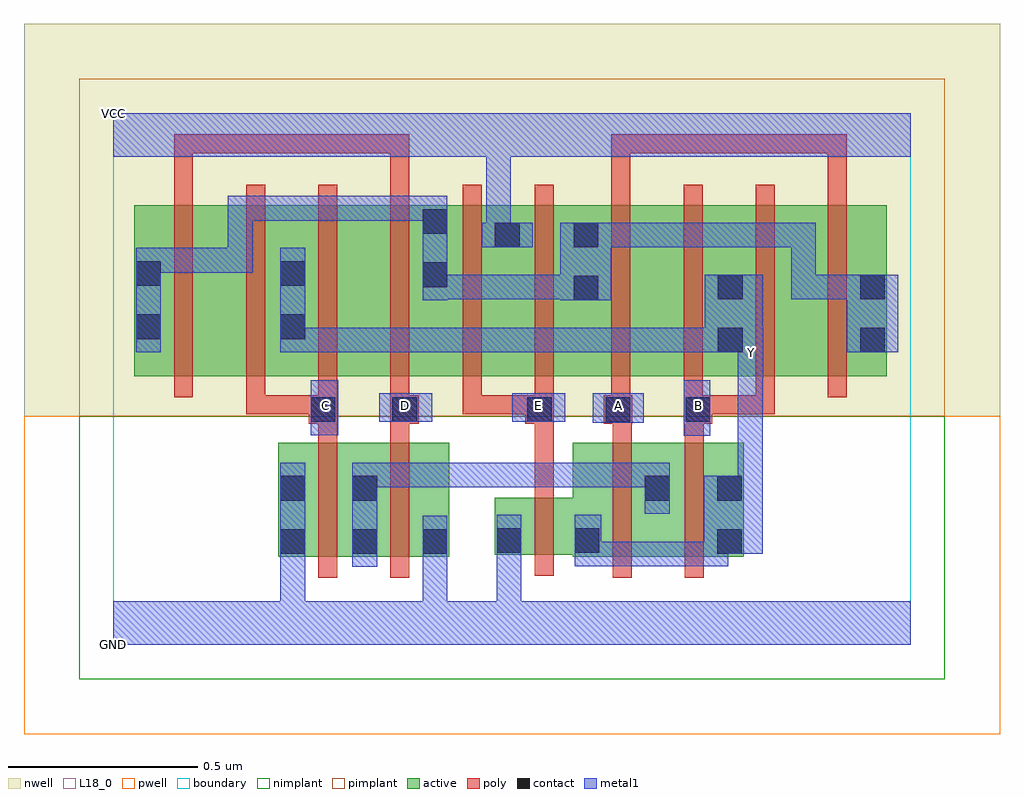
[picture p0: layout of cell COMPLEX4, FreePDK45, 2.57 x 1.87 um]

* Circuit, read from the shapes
.subckt COMPLEX4 A B C D E GND VCC Y
M1 n1 C GND VSUBS nfet w=0.3u l=0.05u
M2 GND D n1 VSUBS nfet w=0.3u l=0.05u
M3 Y E GND VSUBS nfet w=0.15u l=0.05u
M4 n1 A Y VSUBS nfet w=0.3u l=0.05u
M5 Y B n1 VSUBS nfet w=0.3u l=0.05u
M6 n2 D n3 n4 pfet w=0.45u l=0.05u
M7 Y C n2 n4 pfet w=0.45u l=0.05u
M8 n5 C Y n4 pfet w=0.45u l=0.05u
M9 n3 D n5 n4 pfet w=0.45u l=0.05u
M10 VCC E n3 n4 pfet w=0.45u l=0.05u m=2
M11 n6 A n3 n4 pfet w=0.45u l=0.05u
M12 Y B n6 n4 pfet w=0.45u l=0.05u
M13 n7 B Y n4 pfet w=0.45u l=0.05u
M14 n3 A n7 n4 pfet w=0.45u l=0.05u
.ends

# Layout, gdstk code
import gdstk
lib = gdstk.Library(unit=1e-6, precision=1e-09)
def R(c, l, rs):  # rectangles x0, y0, x1, y1
    for r in rs: c.add(gdstk.rectangle(r[:2], r[2:], *l))
def A(c, l, x, y, w, h, nx, ny, dx, dy):  # array of equal rectangles
    R(c, l, [(x+i*dx, y+j*dy, x+i*dx+w, y+j*dy+h) for i in range(nx) for j in range(ny)])
active = (1, 0)
pwell = (2, 0)
nwell = (3, 0)
nimplant = (4, 0)
pimplant = (5, 0)
poly = (9, 0)
contact = (10, 0)
metal1 = (11, 0)
L18_0 = (18, 0)
boundary = (235, 0)

complex4 = lib.new_cell('COMPLEX4')
R(complex4, active, [(0.435,0.232,0.51,0.532), (0.435,0.232,0.7,0.532), (0.625,0.232,0.885,0.532), (0.625,0.232,0.7,0.475), (0.81,0.232,0.885,0.532), (1.21,0.232,1.47,0.532), (1.21,0.232,1.285,0.342), (1.395,0.232,1.66,0.532), (1.585,0.232,1.66,0.532), (1.005,0.237,1.285,0.387), (1.005,0.237,1.08,0.387), (1.395,0.247,1.47,0.45), (0.055,0.707,0.13,1.107), (0.055,0.707,0.28,1.157), (0.28,0.707,0.51,1.157), (0.435,0.707,0.66,1.157), (0.66,0.707,0.885,1.157), (0.81,0.707,1.075,1.157), (1,0.707,1.282,1.157), (1.207,0.707,1.432,1.157), (1.432,0.707,1.662,1.157), (1.587,0.707,1.812,1.157), (1.812,0.707,2.037,1.157), (1.962,0.707,2.037,1.107), (0.435,0.717,0.51,1.07), (0.81,0.717,0.885,1.157), (1.587,0.717,1.662,1.07), (1.207,0.782,1.282,1.12), (1,0.857,1.075,1.12)])
R(complex4, pwell, [(-0.235,-0.235,2.335,0.602)])
R(complex4, nwell, [(-0.235,0.602,2.335,1.635)])
R(complex4, nimplant, [(-0.09,-0.09,2.19,0.602)])
R(complex4, pimplant, [(-0.09,0.602,2.19,1.49)])
A(complex4, poly, 0.35, 0.607, 0.05, 0.095, 5, 1, 0.19, 0)
A(complex4, poly, 1.312, 0.607, 0.05, 0.095, 3, 1, 0.19, 0)
A(complex4, poly, 0.16, 0.652, 0.05, 0.56, 6, 1, 0.19, 0)
A(complex4, poly, 1.312, 0.652, 0.05, 0.56, 4, 1, 0.19, 0)
R(complex4, poly, [(0.54,0.177,0.59,0.587), (0.73,0.177,0.78,0.587), (1.315,0.177,1.365,0.587), (1.505,0.177,1.555,0.587), (1.11,0.182,1.16,0.442), (1.11,0.392,1.16,0.632), (0.54,0.537,0.59,0.632), (0.73,0.537,0.78,0.632), (1.315,0.537,1.365,0.632), (1.505,0.537,1.555,0.632), (0.515,0.582,0.59,0.657), (0.73,0.582,0.805,0.657), (1.085,0.582,1.16,0.657), (1.292,0.582,1.367,0.657), (1.502,0.582,1.577,0.657), (0.35,0.607,0.4,0.657), (0.35,0.607,0.565,0.657), (0.515,0.607,0.565,0.657), (0.515,0.607,0.565,0.657), (0.92,0.607,0.97,0.657), (0.92,0.607,0.97,0.657), (0.92,0.607,0.97,0.657), (0.92,0.607,1.135,0.657), (1.527,0.607,1.742,0.657), (1.692,0.607,1.742,0.657), (1.692,0.607,1.742,0.657), (1.692,0.607,1.742,0.657), (0.16,1.162,0.21,1.345), (0.73,1.162,0.78,1.345), (1.312,1.162,1.362,1.345), (1.882,1.162,1.932,1.345), (0.16,1.295,0.21,1.345), (0.16,1.295,0.21,1.345), (0.16,1.295,0.21,1.345), (0.16,1.295,0.345,1.345), (0.295,1.295,0.345,1.345), (0.295,1.295,0.535,1.345), (0.485,1.295,0.535,1.345), (0.485,1.295,0.535,1.345), (0.485,1.295,0.535,1.345), (0.485,1.295,0.78,1.345), (0.73,1.295,0.78,1.345), (0.73,1.295,0.78,1.345), (0.73,1.295,0.78,1.345), (1.312,1.295,1.362,1.345), (1.312,1.295,1.362,1.345), (1.312,1.295,1.362,1.345), (1.312,1.295,1.61,1.345), (1.56,1.295,1.61,1.345), (1.56,1.295,1.61,1.345), (1.56,1.295,1.61,1.345), (1.56,1.295,1.742,1.345), (1.692,1.295,1.742,1.345), (1.692,1.295,1.932,1.345), (1.882,1.295,1.932,1.345), (1.882,1.295,1.932,1.345), (1.882,1.295,1.932,1.345)])
R(complex4, contact, [(0.44,0.24,0.505,0.305), (0.63,0.24,0.695,0.305), (0.815,0.24,0.88,0.305), (1.59,0.24,1.655,0.305), (1.01,0.242,1.075,0.307), (1.215,0.242,1.28,0.307), (0.44,0.38,0.505,0.445), (0.63,0.38,0.695,0.445), (1.4,0.38,1.465,0.445), (1.59,0.38,1.655,0.445), (0.52,0.587,0.585,0.652), (0.735,0.587,0.8,0.652), (1.09,0.587,1.155,0.652), (1.297,0.587,1.362,0.652), (1.507,0.587,1.572,0.652), (1.592,0.77,1.657,0.835), (1.967,0.77,2.032,0.835), (0.06,0.805,0.125,0.87), (0.44,0.805,0.505,0.87), (1.212,0.907,1.277,0.972), (1.592,0.91,1.657,0.975), (1.967,0.91,2.032,0.975), (0.815,0.942,0.88,1.007), (0.06,0.945,0.125,1.01), (0.44,0.945,0.505,1.01), (1.005,1.047,1.07,1.112), (1.212,1.047,1.277,1.112), (0.815,1.082,0.88,1.147)])
R(complex4, metal1, [(0,0,2.1,0.115), (0.44,0.05,0.505,0.115), (0.44,0.05,0.505,0.115), (0.44,0.05,0.505,0.27), (0.815,0.05,0.88,0.115), (0.815,0.05,0.88,0.115), (0.815,0.05,0.88,0.27), (1.01,0.05,1.075,0.272), (0.44,0.205,0.505,0.48), (0.63,0.205,0.695,0.48), (0.815,0.205,0.88,0.34), (1.01,0.207,1.075,0.272), (1.01,0.207,1.075,0.272), (1.01,0.207,1.075,0.272), (1.01,0.207,1.075,0.272), (1.01,0.207,1.075,0.342), (1.215,0.207,1.285,0.342), (1.22,0.207,1.285,0.272), (1.22,0.207,1.285,0.272), (1.22,0.207,1.45,0.272), (1.385,0.207,1.45,0.272), (1.385,0.207,1.62,0.272), (1.555,0.207,1.62,0.272), (1.555,0.207,1.62,0.272), (1.555,0.207,1.62,0.272), (1.555,0.207,1.62,0.305), (1.555,0.24,1.71,0.445), (1.4,0.345,1.465,0.48), (1.645,0.38,1.71,0.767), (0.63,0.415,0.695,0.48), (0.63,0.415,0.695,0.48), (0.63,0.415,0.857,0.48), (0.792,0.415,0.857,0.48), (0.792,0.415,0.857,0.48), (0.792,0.415,0.857,0.48), (0.792,0.415,1.02,0.48), (0.955,0.415,1.02,0.48), (0.955,0.415,1.02,0.48), (0.955,0.415,1.02,0.48), (0.955,0.415,1.222,0.48), (1.157,0.415,1.222,0.48), (1.157,0.415,1.222,0.48), (1.157,0.415,1.222,0.48), (1.157,0.415,1.465,0.48), (1.502,0.55,1.572,0.697), (0.52,0.552,0.592,0.697), (1.262,0.585,1.397,0.662), (0.7,0.587,0.84,0.662), (1.05,0.587,1.19,0.662), (1.645,0.702,1.712,0.837), (0.06,0.77,0.125,1.045), (0.44,0.77,0.505,0.835), (0.44,0.77,0.505,0.835), (0.44,0.77,0.505,1.045), (0.44,0.77,0.695,0.835), (0.63,0.77,0.695,0.835), (0.63,0.77,0.695,0.835), (0.63,0.77,0.695,0.835), (0.63,0.77,0.832,0.835), (0.767,0.77,0.832,0.835), (0.767,0.77,0.832,0.835), (0.767,0.77,0.832,0.835), (0.767,0.77,1.025,0.835), (0.96,0.77,1.025,0.835), (0.96,0.77,1.025,0.835), (0.96,0.77,1.025,0.835), (0.96,0.77,1.24,0.835), (1.175,0.77,1.24,0.835), (1.175,0.77,1.24,0.835), (1.175,0.77,1.24,0.835), (1.175,0.77,1.482,0.835), (1.417,0.77,1.482,0.835), (1.417,0.77,1.482,0.835), (1.417,0.77,1.482,0.835), (1.417,0.77,1.622,0.835), (1.557,0.77,1.71,0.975), (1.645,0.77,1.71,0.835), (1.932,0.77,2.067,0.975), (0.815,0.907,0.88,1.182), (1.177,0.907,1.312,1.112), (0.815,0.91,0.88,0.975), (0.815,0.91,0.88,0.975), (0.815,0.91,1.02,0.975), (0.955,0.91,1.02,0.975), (0.955,0.91,1.02,0.975), (0.955,0.91,1.02,0.975), (0.955,0.91,1.242,0.975), (1.785,0.91,1.85,0.975), (1.785,0.91,1.997,0.975), (1.785,0.91,1.85,1.112), (1.932,0.91,1.997,0.975), (1.932,0.91,1.997,0.975), (0.06,0.98,0.125,1.045), (0.06,0.98,0.125,1.045), (0.06,0.98,0.367,1.045), (0.302,0.98,0.367,1.045), (0.302,0.98,0.367,1.182), (0.97,1.047,1.105,1.112), (0.982,1.047,1.047,1.112), (0.982,1.047,1.047,1.112), (0.982,1.047,1.047,1.35), (1.247,1.047,1.312,1.112), (1.247,1.047,1.312,1.112), (1.247,1.047,1.482,1.112), (1.417,1.047,1.482,1.112), (1.417,1.047,1.625,1.112), (1.56,1.047,1.625,1.112), (1.56,1.047,1.625,1.112), (1.56,1.047,1.625,1.112), (1.56,1.047,1.85,1.112), (1.785,1.047,1.85,1.112), (1.785,1.047,1.85,1.112), (1.785,1.047,1.85,1.112), (0.302,1.117,0.367,1.182), (0.302,1.117,0.367,1.182), (0.302,1.117,0.367,1.182), (0.302,1.117,0.505,1.182), (0.44,1.117,0.505,1.182), (0.44,1.117,0.505,1.182), (0.44,1.117,0.505,1.182), (0.44,1.117,0.695,1.182), (0.63,1.117,0.695,1.182), (0.63,1.117,0.695,1.182), (0.63,1.117,0.695,1.182), (0.63,1.117,0.88,1.182), (0,1.285,2.1,1.4)])
A(complex4, L18_0, 1.087, 0.597, 0.065, 0.065, 3, 1, 0.21, 0)
R(complex4, L18_0, [(0,0,2.1,0.115), (0.44,0.05,0.505,0.115), (0.44,0.05,0.505,0.115), (0.44,0.05,0.505,0.27), (0.815,0.05,0.88,0.115), (0.815,0.05,0.88,0.115), (0.815,0.05,0.88,0.27), (1.01,0.05,1.075,0.272), (0.44,0.205,0.505,0.48), (0.815,0.205,0.88,0.34), (1.01,0.207,1.075,0.272), (1.01,0.207,1.075,0.272), (1.01,0.207,1.075,0.272), (1.01,0.207,1.075,0.272), (1.01,0.207,1.075,0.342), (1.215,0.207,1.285,0.342), (1.22,0.207,1.285,0.272), (1.22,0.207,1.285,0.272), (1.22,0.207,1.45,0.272), (1.385,0.207,1.45,0.272), (1.385,0.207,1.62,0.272), (1.555,0.207,1.62,0.272), (1.555,0.207,1.62,0.272), (1.555,0.207,1.62,0.272), (1.555,0.207,1.62,0.305), (1.555,0.24,1.71,0.445), (1.645,0.38,1.71,0.767), (1.502,0.55,1.572,0.697), (0.52,0.552,0.592,0.697), (1.262,0.585,1.397,0.662), (0.7,0.587,0.84,0.662), (1.05,0.587,1.19,0.662), (0.527,0.597,0.592,0.662), (0.737,0.597,0.802,0.662), (1.645,0.702,1.712,0.837), (1.647,0.737,1.712,0.802), (0.44,0.77,0.505,0.835), (0.44,0.77,0.505,0.835), (0.44,0.77,0.505,1.045), (0.44,0.77,0.695,0.835), (0.63,0.77,0.695,0.835), (0.63,0.77,0.695,0.835), (0.63,0.77,0.695,0.835), (0.63,0.77,0.832,0.835), (0.767,0.77,0.832,0.835), (0.767,0.77,0.832,0.835), (0.767,0.77,0.832,0.835), (0.767,0.77,1.025,0.835), (0.96,0.77,1.025,0.835), (0.96,0.77,1.025,0.835), (0.96,0.77,1.025,0.835), (0.96,0.77,1.24,0.835), (1.175,0.77,1.24,0.835), (1.175,0.77,1.24,0.835), (1.175,0.77,1.24,0.835), (1.175,0.77,1.482,0.835), (1.417,0.77,1.482,0.835), (1.417,0.77,1.482,0.835), (1.417,0.77,1.482,0.835), (1.417,0.77,1.622,0.835), (1.557,0.77,1.71,0.975), (1.645,0.77,1.71,0.835), (0.97,1.047,1.105,1.112), (0.982,1.047,1.047,1.112), (0.982,1.047,1.047,1.112), (0.982,1.047,1.047,1.35), (0,1.285,2.1,1.4)])
R(complex4, boundary, [(0,0,2.1,1.4)])
complex4.add(gdstk.Label('A', (1.33,0.63), layer=11, texttype=0))
complex4.add(gdstk.Label('B', (1.54,0.63), layer=11, texttype=0))
complex4.add(gdstk.Label('C', (0.56,0.63), layer=11, texttype=0))
complex4.add(gdstk.Label('D', (0.77,0.63), layer=11, texttype=0))
complex4.add(gdstk.Label('E', (1.12,0.63), layer=11, texttype=0))
complex4.add(gdstk.Label('Y', (1.68,0.77), layer=11, texttype=0))
complex4.add(gdstk.Label('VCC', (0,1.4), layer=11, texttype=0))
complex4.add(gdstk.Label('GND', (0,0), layer=11, texttype=0))

lib.write_gds('COMPLEX4.gds')
